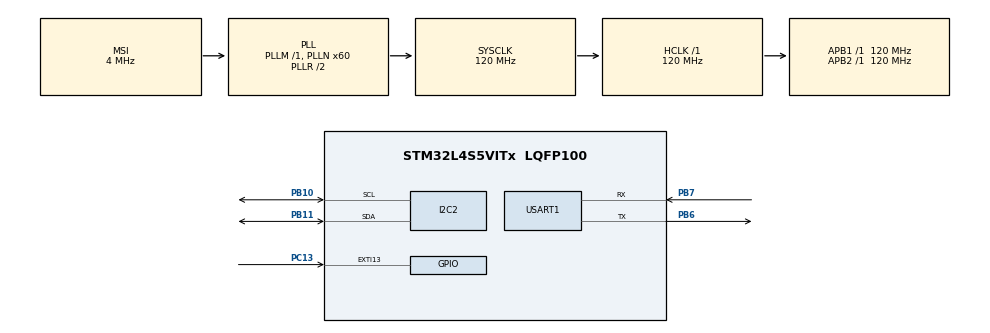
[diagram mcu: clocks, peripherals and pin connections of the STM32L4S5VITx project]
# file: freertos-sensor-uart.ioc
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FREERTOS.Mutexes01=sensorMutex,Dynamic,NULL,Available
FREERTOS.Tasks01=SensorTask,0,256,StartDefaultTask,Default,NULL,Dynamic,NULL,NULL;ButtonTask,0,128,StartButtonTask,Default,NULL,Dynamic,NULL,NULL;UartTask,0,512,StartUartTask,Default,NULL,Dynamic,NULL,NULL
FREERTOS.configTOTAL_HEAP_SIZE=15360
I2C2.Timing=0x30A175AB
Mcu.Family=STM32L4
Mcu.Name=STM32L4S5VITx
Mcu.Package=LQFP100
NVIC.EXTI15_10_IRQn=true\:5\:0\:false\:false\:true\:true\:true\:true\:true
NVIC.PriorityGroup=NVIC_PRIORITYGROUP_4
NVIC.TIM6_DAC_IRQn=true\:15\:0\:false\:false\:true\:false\:false\:true\:true
NVIC.TimeBase=TIM6_DAC_IRQn
NVIC.TimeBaseIP=TIM6
PB10.Mode=I2C
PB10.Signal=I2C2_SCL
PB11.Mode=I2C
PB11.Signal=I2C2_SDA
PB6.Mode=Asynchronous
PB6.Signal=USART1_TX
PB7.Mode=Asynchronous
PB7.Signal=USART1_RX
PC13.Signal=GPXTI13
ProjectManager.HeapSize=0x200
ProjectManager.StackSize=0x400
ProjectManager.TargetToolchain=STM32CubeIDE
RCC.ADCFreq_Value=48000000
RCC.AHBFreq_Value=120000000
RCC.APB1Freq_Value=120000000
RCC.APB1TimFreq_Value=120000000
RCC.APB2Freq_Value=120000000
RCC.APB2TimFreq_Value=120000000
RCC.CortexFreq_Value=120000000
RCC.HCLKFreq_Value=120000000
RCC.HSE_VALUE=8000000
RCC.HSI48_VALUE=48000000
RCC.HSI_VALUE=16000000
RCC.MSI_VALUE=4000000
RCC.PLLN=60
RCC.PLLSAI1N=24
RCC.SYSCLKFreq_VALUE=120000000
RCC.SYSCLKSource=RCC_SYSCLKSOURCE_PLLCLK
RCC.USBFreq_Value=48000000
RCC.VCOOutputFreq_Value=240000000
USART1.VirtualMode-Asynchronous=VM_ASYNC
VP_FREERTOS_VS_CMSIS_V1.Mode=CMSIS_V1
VP_SYS_VS_tim6.Mode=TIM6
board=B-L4S5I-IOT01A

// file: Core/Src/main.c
/* USER CODE BEGIN Header */
/**
  ******************************************************************************
  * @file           : main.c
  * @brief          : Main program body
  ******************************************************************************
  * @attention
  *
  * Copyright (c) 2026 STMicroelectronics.
  * All rights reserved.
  *
  * This software is licensed under terms that can be found in the LICENSE file
  * in the root directory of this software component.
  * If no LICENSE file comes with this software, it is provided AS-IS.
  *
  ******************************************************************************
  */
/* USER CODE END Header */
#include "main.h"
#include "cmsis_os.h"

/* USER CODE BEGIN Includes */
#include <stdio.h>
#include <string.h>
#include "stm32l4s5i_iot01_hsensor.h"
#include "stm32l4s5i_iot01_psensor.h"
#include "stm32l4s5i_iot01_accelero.h"
#include "stm32l4s5i_iot01_magneto.h"
/* USER CODE END Includes */

I2C_HandleTypeDef hi2c2;

UART_HandleTypeDef huart1;

osThreadId SensorTaskHandle;
osThreadId ButtonTaskHandle;
osThreadId UartTaskHandle;
osMutexId sensorMutexHandle;
/* USER CODE BEGIN PV */
volatile uint8_t mode = 0;          // which sensor to print: 0 humidity, 1 pressure, 2 accel, 3 magnetometer
volatile uint8_t button_flag = 0;   // set by the button interrupt, cleared by the button task

float humidity = 0, pressure = 0;   // latest readings, written by the sensor task
int16_t accel[3] = {0}, mag[3] = {0};
/* USER CODE END PV */

void SystemClock_Config(void);
static void MX_GPIO_Init(void);
static void MX_I2C2_Init(void);
static void MX_USART1_UART_Init(void);
void StartDefaultTask(void const * argument);
void StartButtonTask(void const * argument);
void StartUartTask(void const * argument);

int main(void)
{

  /* MCU Configuration--------------------------------------------------------*/

  /* Reset of all peripherals, Initializes the Flash interface and the Systick. */
  HAL_Init();

  /* Configure the system clock */
  SystemClock_Config();

  /* Initialize all configured peripherals */
  MX_GPIO_Init();
  MX_I2C2_Init();
  MX_USART1_UART_Init();

  /* Create the mutex(es) */
  /* definition and creation of sensorMutex */
  osMutexDef(sensorMutex);
  sensorMutexHandle = osMutexCreate(osMutex(sensorMutex));

  /* Create the thread(s) */
  /* definition and creation of SensorTask */
  osThreadDef(SensorTask, StartDefaultTask, osPriorityNormal, 0, 256);
  SensorTaskHandle = osThreadCreate(osThread(SensorTask), NULL);

  /* definition and creation of ButtonTask */
  osThreadDef(ButtonTask, StartButtonTask, osPriorityNormal, 0, 128);
  ButtonTaskHandle = osThreadCreate(osThread(ButtonTask), NULL);

  /* definition and creation of UartTask */
  osThreadDef(UartTask, StartUartTask, osPriorityNormal, 0, 512);
  UartTaskHandle = osThreadCreate(osThread(UartTask), NULL);

  /* Start scheduler */
  osKernelStart();

  /* We should never get here as control is now taken by the scheduler */

  /* Infinite loop */
  while (1)
  {

  }
}

void SystemClock_Config(void)
{
  RCC_OscInitTypeDef RCC_OscInitStruct = {0};
  RCC_ClkInitTypeDef RCC_ClkInitStruct = {0};

  /** Configure the main internal regulator output voltage
  */
  if (HAL_PWREx_ControlVoltageScaling(PWR_REGULATOR_VOLTAGE_SCALE1_BOOST) != HAL_OK)
  {
    Error_Handler();
  }

  /** Initializes the RCC Oscillators according to the specified parameters
  * in the RCC_OscInitTypeDef structure.
  */
  RCC_OscInitStruct.OscillatorType = RCC_OSCILLATORTYPE_MSI;
  RCC_OscInitStruct.MSIState = RCC_MSI_ON;
  RCC_OscInitStruct.MSICalibrationValue = 0;
  RCC_OscInitStruct.MSIClockRange = RCC_MSIRANGE_6;
  RCC_OscInitStruct.PLL.PLLState = RCC_PLL_ON;
  RCC_OscInitStruct.PLL.PLLSource = RCC_PLLSOURCE_MSI;
  RCC_OscInitStruct.PLL.PLLM = 1;
  RCC_OscInitStruct.PLL.PLLN = 60;
  RCC_OscInitStruct.PLL.PLLP = RCC_PLLP_DIV2;
  RCC_OscInitStruct.PLL.PLLQ = RCC_PLLQ_DIV2;
  RCC_OscInitStruct.PLL.PLLR = RCC_PLLR_DIV2;
  if (HAL_RCC_OscConfig(&RCC_OscInitStruct) != HAL_OK)
  {
    Error_Handler();
  }

  /** Initializes the CPU, AHB and APB buses clocks
  */
  RCC_ClkInitStruct.ClockType = RCC_CLOCKTYPE_HCLK|RCC_CLOCKTYPE_SYSCLK
                              |RCC_CLOCKTYPE_PCLK1|RCC_CLOCKTYPE_PCLK2;
  RCC_ClkInitStruct.SYSCLKSource = RCC_SYSCLKSOURCE_PLLCLK;
  RCC_ClkInitStruct.AHBCLKDivider = RCC_SYSCLK_DIV1;
  RCC_ClkInitStruct.APB1CLKDivider = RCC_HCLK_DIV1;
  RCC_ClkInitStruct.APB2CLKDivider = RCC_HCLK_DIV1;

  if (HAL_RCC_ClockConfig(&RCC_ClkInitStruct, FLASH_LATENCY_5) != HAL_OK)
  {
    Error_Handler();
  }
}

static void MX_I2C2_Init(void)
{

  hi2c2.Instance = I2C2;
  hi2c2.Init.Timing = 0x30A175AB;
  hi2c2.Init.OwnAddress1 = 0;
  hi2c2.Init.AddressingMode = I2C_ADDRESSINGMODE_7BIT;
  hi2c2.Init.DualAddressMode = I2C_DUALADDRESS_DISABLE;
  hi2c2.Init.OwnAddress2 = 0;
  hi2c2.Init.OwnAddress2Masks = I2C_OA2_NOMASK;
  hi2c2.Init.GeneralCallMode = I2C_GENERALCALL_DISABLE;
  hi2c2.Init.NoStretchMode = I2C_NOSTRETCH_DISABLE;
  if (HAL_I2C_Init(&hi2c2) != HAL_OK)
  {
    Error_Handler();
  }

  /** Configure Analogue filter
  */
  if (HAL_I2CEx_ConfigAnalogFilter(&hi2c2, I2C_ANALOGFILTER_ENABLE) != HAL_OK)
  {
    Error_Handler();
  }

  /** Configure Digital filter
  */
  if (HAL_I2CEx_ConfigDigitalFilter(&hi2c2, 0) != HAL_OK)
  {
    Error_Handler();
  }

}

static void MX_USART1_UART_Init(void)
{

  huart1.Instance = USART1;
  huart1.Init.BaudRate = 115200;
  huart1.Init.WordLength = UART_WORDLENGTH_8B;
  huart1.Init.StopBits = UART_STOPBITS_1;
  huart1.Init.Parity = UART_PARITY_NONE;
  huart1.Init.Mode = UART_MODE_TX_RX;
  huart1.Init.HwFlowCtl = UART_HWCONTROL_NONE;
  huart1.Init.OverSampling = UART_OVERSAMPLING_16;
  huart1.Init.OneBitSampling = UART_ONE_BIT_SAMPLE_DISABLE;
  huart1.Init.ClockPrescaler = UART_PRESCALER_DIV1;
  huart1.AdvancedInit.AdvFeatureInit = UART_ADVFEATURE_NO_INIT;
  if (HAL_UART_Init(&huart1) != HAL_OK)
  {
    Error_Handler();
  }
  if (HAL_UARTEx_SetTxFifoThreshold(&huart1, UART_TXFIFO_THRESHOLD_1_8) != HAL_OK)
  {
    Error_Handler();
  }
  if (HAL_UARTEx_SetRxFifoThreshold(&huart1, UART_RXFIFO_THRESHOLD_1_8) != HAL_OK)
  {
    Error_Handler();
  }
  if (HAL_UARTEx_DisableFifoMode(&huart1) != HAL_OK)
  {
    Error_Handler();
  }

}

static void MX_GPIO_Init(void)
{
  GPIO_InitTypeDef GPIO_InitStruct = {0};

  /* GPIO Ports Clock Enable */
  __HAL_RCC_GPIOC_CLK_ENABLE();
  __HAL_RCC_GPIOB_CLK_ENABLE();

  /*Configure GPIO pin : PC13 */
  GPIO_InitStruct.Pin = GPIO_PIN_13;
  GPIO_InitStruct.Mode = GPIO_MODE_IT_RISING;
  GPIO_InitStruct.Pull = GPIO_NOPULL;
  HAL_GPIO_Init(GPIOC, &GPIO_InitStruct);

  /* EXTI interrupt init*/
  HAL_NVIC_SetPriority(EXTI15_10_IRQn, 5, 0);
  HAL_NVIC_EnableIRQ(EXTI15_10_IRQn);

}

/* USER CODE BEGIN 4 */
void HAL_GPIO_EXTI_Callback(uint16_t GPIO_Pin)
{
  if (GPIO_Pin == GPIO_PIN_13)   // the blue button is on PC13
    button_flag = 1;
}
/* USER CODE END 4 */

void StartDefaultTask(void const * argument)
{
  /* USER CODE BEGIN 5 */
	  BSP_HSENSOR_Init();      // start each sensor once
	  BSP_PSENSOR_Init();
	  BSP_ACCELERO_Init();
	  BSP_MAGNETO_Init();

	  for(;;)
	  {
	    osDelay(100);          // sleep 100 ms -> 10 readings per second

	    float h = BSP_HSENSOR_ReadHumidity();     // %
	    float p = BSP_PSENSOR_ReadPressure();     // hPa
	    int16_t a[3], m[3];
	    BSP_ACCELERO_AccGetXYZ(a);                // mg (thousandths of g), x y z
	    BSP_MAGNETO_GetXYZ(m);                    // mGauss (milligauss), x y z

	    osMutexWait(sensorMutexHandle, osWaitForever);   // lock the shared values
	    humidity = h;
	    pressure = p;
	    memcpy(accel, a, sizeof(a));
	    memcpy(mag, m, sizeof(m));
	    osMutexRelease(sensorMutexHandle);               // unlock
	  }
  /* USER CODE END 5 */
}

void StartButtonTask(void const * argument)
{
  /* USER CODE BEGIN StartButtonTask */
	  for(;;)
	  {
	    osDelay(20);                  // check the flag 50 times per second
	    if (button_flag)
	    {
	      mode = (mode + 1) % 4;      // next sensor: 0 -> 1 -> 2 -> 3 -> 0
	      osDelay(200);               // wait out the button's bounce
	      button_flag = 0;
	    }
	  }
  /* USER CODE END StartButtonTask */
}

void StartUartTask(void const * argument)
{
  /* USER CODE BEGIN StartUartTask */
	  char buf[80];

	  for(;;)
	  {
	    osDelay(100);          // print 10 times per second

	    osMutexWait(sensorMutexHandle, osWaitForever);   // take a clean copy of the values
	    float h = humidity, p = pressure;
	    int16_t a[3] = {accel[0], accel[1], accel[2]};
	    int16_t m[3] = {mag[0], mag[1], mag[2]};
	    osMutexRelease(sensorMutexHandle);

	    switch (mode)
	    {
	      case 0: sprintf(buf, "Humidity: %d.%02d %%\r\n", (int)h, (int)(h * 100) % 100); break;
	      case 1: sprintf(buf, "Pressure: %d.%02d hPa\r\n", (int)p, (int)(p * 100) % 100); break;
	      case 2: sprintf(buf, "Accel (mg): x=%d y=%d z=%d\r\n", a[0], a[1], a[2]); break;
	      default: sprintf(buf, "Mag (mGauss): x=%d y=%d z=%d\r\n", m[0], m[1], m[2]); break;
	    }

	    HAL_UART_Transmit(&huart1, (uint8_t *)buf, strlen(buf), 100);
	  }
  /* USER CODE END StartUartTask */
}

void HAL_TIM_PeriodElapsedCallback(TIM_HandleTypeDef *htim)
{
  if (htim->Instance == TIM6) {
    HAL_IncTick();
  }
}

void Error_Handler(void)
{
  __disable_irq();
  while (1)
  {
  }
}
